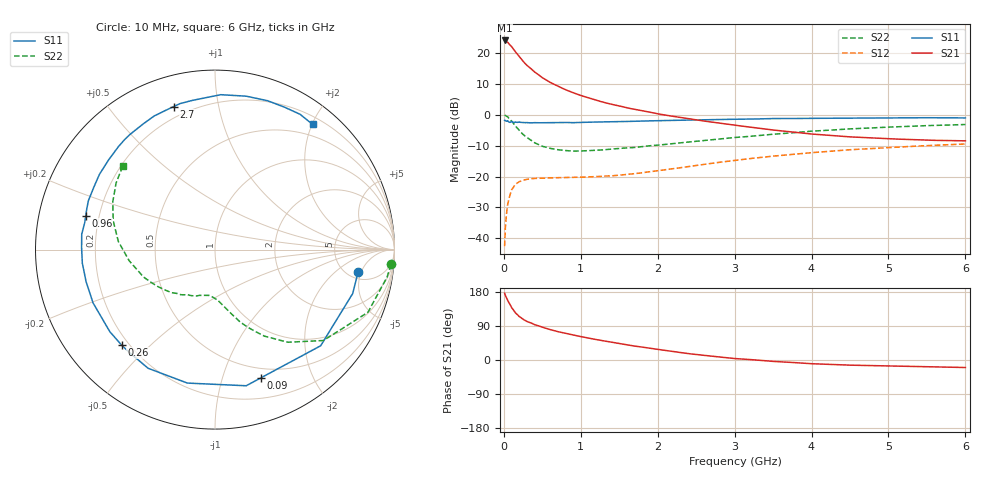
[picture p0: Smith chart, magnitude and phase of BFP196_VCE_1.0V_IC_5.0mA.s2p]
! Infineon Technologies  Discrete & RF Semiconductors
! BFP196
! VCE = 1.0 V,  IC = 5.0mA
! Common Emitter S-Parameters:  Jan 2016
# GHz  S  MA  R  50
!  f  S11  S21  S12  S22
! GHz  MAG  ANG  MAG  ANG  MAG  ANG  MAG  ANG
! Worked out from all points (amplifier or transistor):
!   210 points, 10 MHz to 6 GHz, reference 50 ohm
!   highest |S21| = 24.0 dB at 10 MHz (marker M1)
!   |S21| within 3 dB of that: start of sweep to 130.3 MHz
!   unconditionally stable (mu >= 1): 1.103 GHz to end of sweep
!   at 185 MHz: K = 0.20, MSG = 20.6 dB, |S12| = -21.9 dB
!   at 1.52 GHz: K = 1.20, MAG = 8.4 dB, |S12| = -19.5 dB
!   at 6 GHz: K = 1.04, MAG = -0.7 dB, |S12| = -9.5 dB
!   S11 on the Smith chart (normalised r, x): 10 MHz: 6.11, -4.42; 90 MHz: 0.40, -1.34; 260 MHz: 0.17, -0.41; 960 MHz: 0.15, +0.13; 2.7 GHz: 0.15, +0.74; 6 GHz: 0.31, +2.01
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0.01  0.807 -9.0  15.77 176.3  0.0075 86.0  0.9845 -4.8
0.02  0.8053 -17.7  15.43 170.2  0.015 80.9  0.9706 -9.1
0.05  0.796 -42.3  14.73 156.9  0.0355 68.7  0.9209 -22.3
0.09  0.7587 -70.2  12.91 142.6  0.0553 54.6  0.8079 -36.0
0.1  0.7782 -77.1  12.6 138.4  0.0605 52.6  0.7881 -40.0
0.15  0.7594 -101.7  10.37 124.4  0.0748 41.3  0.6569 -51.8
0.2  0.759 -119.4  8.673 114.7  0.0826 34.4  0.555 -60.3
0.26  0.7441 -134.4  7.046 106.3  0.0876 28.7  0.4671 -67.3
0.3  0.7434 -142.0  6.254 101.7  0.0902 26.2  0.4266 -70.9
0.4  0.7415 -156.4  4.886 93.3  0.0932 22.1  0.3511 -77.6
0.5  0.7401 -166.0  3.953 86.4  0.0943 19.8  0.3085 -82.5
0.6  0.7431 -174.2  3.326 80.3  0.0954 18.8  0.2857 -86.3
0.7  0.7434 179.0  2.879 74.9  0.0956 18.6  0.2714 -90.1
0.96  0.7446 165.3  2.122 63.6  0.0973 20.0  0.2581 -98.7
1.02  0.7493 162.5  2.002 61.0  0.0978 20.4  0.2592 -100.5
1.4  0.7683 146.8  1.467 47.0  0.1025 24.9  0.2778 -111.6
2.02  0.7977 126.3  1.02 27.4  0.125 33.0  0.3225 -130.7
2.7  0.8294 106.1  0.757 10.2  0.1634 34.6  0.3915 -150.6
3.1  0.8429 96.5  0.651 2.6  0.1887 32.2  0.4356 -162.0
4.1  0.8724 76.9  0.476 -10.5  0.2481 22.5  0.5484 172.9
5.1  0.8837 62.7  0.403 -16.1  0.2983 10.6  0.6344 153.1
6  0.8844 52.1  0.377 -19.9  0.3354 -0.5  0.6926 138.0
